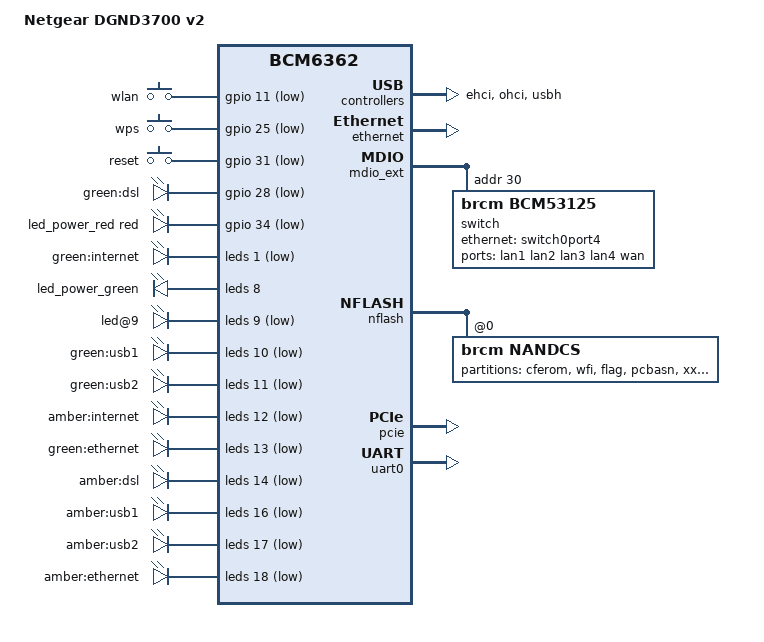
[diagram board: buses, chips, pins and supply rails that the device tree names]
// SPDX-License-Identifier: GPL-2.0-or-later

#include "bcm6362.dtsi"

/ {
	model = "Netgear DGND3700 v2";
	compatible = "netgear,dgnd3700-v2", "brcm,bcm6362";

	aliases {
		led-boot = &led_power_green;
		led-failsafe = &led_power_red;
		led-running = &led_power_green;
		led-upgrade = &led_power_green;
	};

	keys {
		compatible = "gpio-keys-polled";
		poll-interval = <100>;

		wlan {
			label = "wlan";
			gpios = <&gpio 11 GPIO_ACTIVE_LOW>;
			linux,code = <KEY_WLAN>;
			debounce-interval = <60>;
		};

		wps {
			label = "wps";
			gpios = <&gpio 25 GPIO_ACTIVE_LOW>;
			linux,code = <KEY_WPS_BUTTON>;
			debounce-interval = <60>;
		};

		reset {
			label = "reset";
			gpios = <&gpio 31 GPIO_ACTIVE_LOW>;
			linux,code = <KEY_RESTART>;
			debounce-interval = <60>;
		};
	};

	leds {
		compatible = "gpio-leds";

		led@28 {
			label = "green:dsl";
			gpios = <&gpio 28 GPIO_ACTIVE_LOW>;
		};

		led_power_red: led@34 {
			function = LED_FUNCTION_POWER;
			color = <LED_COLOR_ID_RED>;
			gpios = <&gpio 34 GPIO_ACTIVE_LOW>;
			panic-indicator;
		};
	};
};

&ehci {
	status = "okay";
};

&ethernet {
	status = "okay";

	nvmem-cells = <&macaddr_cferom_6a0>;
	nvmem-cell-names = "mac-address";
};

&leds {
	status = "okay";

	brcm,serial-leds;
	brcm,serial-dat-low;
	brcm,serial-shift-inv;
	brcm,serial-mux;

	pinctrl-names = "default";
	pinctrl-0 = <&pinctrl_leds &pinctrl_serial_led>;

	led@1 {
		reg = <1>;
		active-low;
		label = "green:internet";
	};

	led_power_green: led@8 {
		reg = <8>;
		function = LED_FUNCTION_POWER;
		color = <LED_COLOR_ID_GREEN>;
	};

	led@9 {
		reg = <9>;
		active-low;
		function = LED_FUNCTION_WPS;
		color = <LED_COLOR_ID_GREEN>;
	};

	led@10 {
		reg = <10>;
		active-low;
		label = "green:usb1";
	};

	led@11 {
		reg = <11>;
		active-low;
		label = "green:usb2";
	};

	led@12 {
		reg = <12>;
		active-low;
		label = "amber:internet";
	};

	led@13 {
		reg = <13>;
		active-low;
		label = "green:ethernet";
	};

	led@14 {
		reg = <14>;
		active-low;
		label = "amber:dsl";
	};

	led@16 {
		reg = <16>;
		active-low;
		label = "amber:usb1";
	};

	led@17 {
		reg = <17>;
		active-low;
		label = "amber:usb2";
	};

	led@18 {
		reg = <18>;
		active-low;
		label = "amber:ethernet";
	};
};

&mdio_ext {
	switch@1e {
		compatible = "brcm,bcm53125";
		reg = <30>;

		dsa,member = <1 0>;

		ports {
			#address-cells = <1>;
			#size-cells = <0>;

			port@0 {
				reg = <0>;
				label = "lan1";
			};

			port@1 {
				reg = <1>;
				label = "lan2";
			};

			port@2 {
				reg = <2>;
				label = "lan3";
			};

			port@3 {
				reg = <3>;
				label = "lan4";
			};

			port@4 {
				reg = <4>;
				label = "wan";
			};

			port@8 {
				reg = <8>;

				phy-mode = "rgmii";
				ethernet = <&switch0port4>;

				fixed-link {
					speed = <1000>;
					full-duplex;
				};
			};
		};
	};
};

&nflash {
	status = "okay";

	nandcs@0 {
		compatible = "brcm,nandcs";
		reg = <0>;
		nand-ecc-step-size = <512>;
		nand-ecc-strength = <15>;
		nand-on-flash-bbt;

		#address-cells = <1>;
		#size-cells = <1>;

		partitions {
			compatible = "fixed-partitions";
			#address-cells = <1>;
			#size-cells = <1>;

			partition@0 {
				label = "cferom";
				reg = <0x0000000 0x0004000>;
				read-only;

				nvmem-layout {
					compatible = "fixed-layout";
					#address-cells = <1>;
					#size-cells = <1>;

					macaddr_cferom_6a0: macaddr@6a0 {
						reg = <0x6a0 0x6>;
					};
				};
			};

			partition@4000 {
				compatible = "brcm,wfi";
				label = "wfi";
				reg = <0x0004000 0x1c7c000>;
				brcm,cferam = "cfe";
			};

			partition@1c80000 {
				label = "flag";
				reg = <0x1c80000 0x0040000>;
				read-only;
			};

			partition@1cc0000 {
				label = "pcbasn";
				reg = <0x1cc0000 0x0040000>;
				read-only;
			};

			partition@1d00000 {
				label = "xxx";
				reg = <0x1d00000 0x0080000>;
				read-only;
			};

			partition@1d80000 {
				label = "language_dev";
				reg = <0x1d80000 0x0040000>;
				read-only;
			};

			partition@1dc0000 {
				label = "scnvram";
				reg = <0x1dc0000 0x0100000>;
				read-only;
			};
		};
	};
};

&ohci {
	status = "okay";
};

&pcie {
	status = "okay";
};

&pinctrl {
	pinctrl_leds: leds {
		function = "led";
		pins = "gpio1";
	};
};

&switch0 {
	dsa,member = <0 0>;

	ports {
		switch0port4: port@4 {
			reg = <4>;
			label = "extsw";

			phy-mode = "rgmii";

			fixed-link {
				speed = <1000>;
				full-duplex;
			};
		};
	};
};

&uart0 {
	status = "okay";
};

&usbh {
	status = "okay";
};
